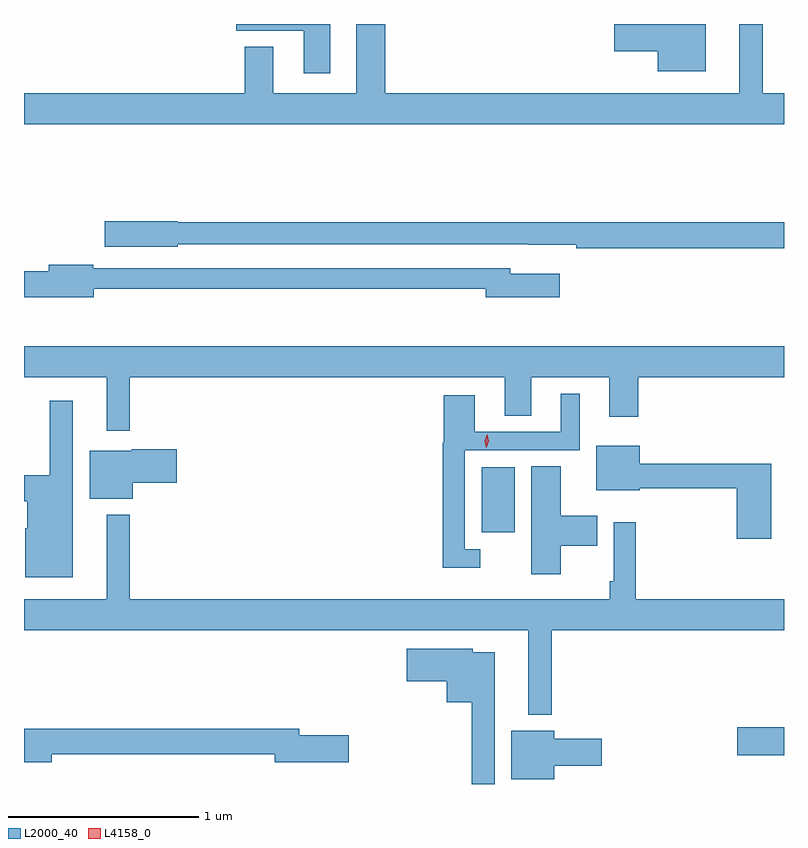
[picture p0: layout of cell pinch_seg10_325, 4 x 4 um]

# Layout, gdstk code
import gdstk
lib = gdstk.Library(unit=1e-6, precision=1e-09)
def R(c, l, rs):  # rectangles x0, y0, x1, y1
    for r in rs: c.add(gdstk.rectangle(r[:2], r[2:], *l))
def P(c, l, *ps):  # polygons
    for p in ps: c.add(gdstk.Polygon(p, *l))
L2000_40 = (2000, 40)
L4158_0 = (4158, 0)

pinch_seg10_325 = lib.new_cell('pinch_seg10_325')
R(pinch_seg10_325, L2000_40, [(399.768,1278.347,400.014,1278.494), (398.423,1279.52,398.596,1279.864)])
P(pinch_seg10_325, L2000_40, [(400.014,1281.832),(399.901,1281.832),(399.901,1282.196),(399.779,1282.196),(399.779,1281.832),(397.916,1281.832),(397.916,1282.196),(397.763,1282.196),(397.763,1281.832),(397.327,1281.832),(397.327,1282.075),(397.175,1282.075),(397.175,1281.832),(396.014,1281.832),(396.014,1281.668),(400.014,1281.668)],
  [(399.601,1282.196),(399.12,1282.196),(399.12,1282.052),(399.35,1282.052),(399.35,1281.947),(399.601,1281.947)],
  [(397.627,1282.196),(397.13,1282.196),(397.13,1282.16),(397.487,1282.16),(397.487,1281.936),(397.627,1281.936)],
  [(400.014,1281.152),(396.822,1281.152),(396.822,1281.158),(396.438,1281.158),(396.438,1281.023),(396.822,1281.023),(396.822,1281.036),(398.668,1281.036),(398.668,1281.035),(398.92,1281.035),(398.92,1281.016),(400.014,1281.016)],
  [(396.382,1280.802),(398.444,1280.802),(398.444,1280.759),(398.833,1280.759),(398.833,1280.881),(398.572,1280.881),(398.572,1280.91),(396.378,1280.91),(396.378,1280.93),(396.143,1280.93),(396.143,1280.894),(396.014,1280.894),(396.014,1280.759),(396.382,1280.759)],
  [(396.571,1280.336),(398.543,1280.336),(398.543,1280.134),(398.683,1280.134),(398.683,1280.336),(399.095,1280.336),(399.095,1280.13),(399.248,1280.13),(399.248,1280.336),(400.014,1280.336),(400.014,1280.5),(396.014,1280.5),(396.014,1280.336),(396.449,1280.336),(396.449,1280.055),(396.571,1280.055)],
  [(398.416,1279.431),(398.334,1279.431),(398.334,1279.953),(398.938,1279.953),(398.938,1280.251),(398.84,1280.251),(398.84,1280.049),(398.386,1280.049),(398.386,1280.242),(398.222,1280.242),(398.222,1279.991),(398.218,1279.991),(398.218,1279.334),(398.416,1279.334)],
  [(396.271,1280.212),(396.15,1280.212),(396.15,1279.82),(396.014,1279.82),(396.014,1279.684),(396.032,1279.684),(396.032,1279.542),(396.02,1279.542),(396.02,1279.283),(396.271,1279.283)],
  [(399.947,1279.882),(399.256,1279.882),(399.256,1279.975),(399.026,1279.975),(399.026,1279.742),(399.256,1279.742),(399.256,1279.753),(399.764,1279.753),(399.764,1279.488),(399.947,1279.488)],
  [(396.586,1279.781),(396.817,1279.781),(396.817,1279.959),(396.582,1279.959),(396.582,1279.951),(396.359,1279.951),(396.359,1279.697),(396.586,1279.697)],
  [(398.839,1279.451),(399.032,1279.451),(399.032,1279.609),(398.839,1279.609),(398.839,1279.868),(398.684,1279.868),(398.684,1279.299),(398.839,1279.299)],
  [(398.791,1279.004),(400.014,1279.004),(400.014,1279.168),(399.233,1279.168),(399.233,1279.573),(399.117,1279.573),(399.117,1279.264),(399.097,1279.264),(399.097,1279.168),(396.571,1279.168),(396.571,1279.612),(396.449,1279.612),(396.449,1279.168),(396.014,1279.168),(396.014,1279.004),(398.669,1279.004),(398.669,1278.56),(398.791,1278.56)],
  [(398.491,1278.889),(398.376,1278.889),(398.376,1278.907),(398.028,1278.907),(398.028,1278.737),(398.24,1278.737),(398.24,1278.626),(398.37,1278.626),(398.37,1278.196),(398.491,1278.196)],
  [(396.16,1278.352),(397.334,1278.352),(397.334,1278.31),(397.723,1278.31),(397.723,1278.452),(397.462,1278.452),(397.462,1278.488),(396.014,1278.488),(396.014,1278.31),(396.16,1278.31)],
  [(398.806,1278.292),(399.055,1278.292),(399.055,1278.434),(398.806,1278.434),(398.806,1278.475),(398.579,1278.475),(398.579,1278.221),(398.806,1278.221)])
P(pinch_seg10_325, L4158_0, [(398.447,1279.965),(398.44,1280.002),(398.452,1280.037),(398.452,1280.037),(398.452,1280.037),(398.46,1280.001),(398.448,1279.965),(398.448,1279.965)])

lib.write_gds('pinch_seg10_325.gds')
